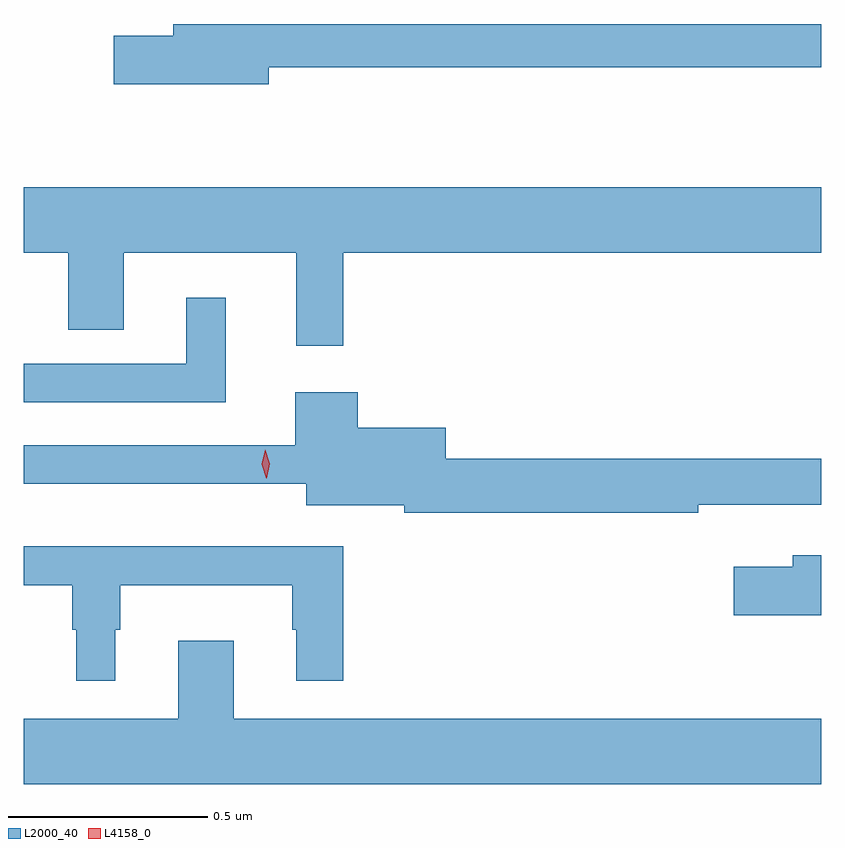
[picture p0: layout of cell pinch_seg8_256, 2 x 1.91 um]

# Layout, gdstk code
import gdstk
lib = gdstk.Library(unit=1e-6, precision=1e-09)
def P(c, l, *ps):  # polygons
    for p in ps: c.add(gdstk.Polygon(p, *l))
L2000_40 = (2000, 40)
L4158_0 = (4158, 0)

pinch_seg8_256 = lib.new_cell('pinch_seg8_256')
P(pinch_seg8_256, L2000_40, [(797.536,1120.962),(798.922,1120.962),(798.922,1121.07),(797.297,1121.07),(797.297,1121.041),(797.148,1121.041),(797.148,1120.919),(797.536,1120.919)],
  [(797.723,1120.496),(798.922,1120.496),(798.922,1120.66),(796.922,1120.66),(796.922,1120.496),(797.033,1120.496),(797.033,1120.303),(797.173,1120.303),(797.173,1120.496),(797.606,1120.496),(797.606,1120.263),(797.723,1120.263)],
  [(797.429,1120.384),(797.33,1120.384),(797.33,1120.218),(796.922,1120.218),(796.922,1120.122),(797.429,1120.122)],
  [(798.614,1119.864),(798.922,1119.864),(798.922,1119.98),(797.98,1119.98),(797.98,1120.057),(797.759,1120.057),(797.759,1120.147),(797.603,1120.147),(797.603,1120.014),(796.922,1120.014),(796.922,1119.917),(797.63,1119.917),(797.63,1119.863),(797.876,1119.863),(797.876,1119.844),(798.614,1119.844)],
  [(797.152,1119.551),(797.164,1119.551),(797.164,1119.662),(797.595,1119.662),(797.595,1119.551),(797.606,1119.551),(797.606,1119.423),(797.723,1119.423),(797.723,1119.76),(796.922,1119.76),(796.922,1119.662),(797.043,1119.662),(797.043,1119.551),(797.054,1119.551),(797.054,1119.423),(797.152,1119.423)],
  [(798.922,1119.738),(798.851,1119.738),(798.851,1119.709),(798.702,1119.709),(798.702,1119.587),(798.922,1119.587)],
  [(798.922,1119.328),(797.449,1119.328),(797.449,1119.523),(797.309,1119.523),(797.309,1119.328),(796.922,1119.328),(796.922,1119.164),(798.922,1119.164)])
P(pinch_seg8_256, L4158_0, [(797.53,1119.931),(797.519,1119.966),(797.528,1120.002),(797.528,1120.002),(797.528,1120.002),(797.539,1119.967),(797.531,1119.931),(797.531,1119.931)])

lib.write_gds('pinch_seg8_256.gds')
